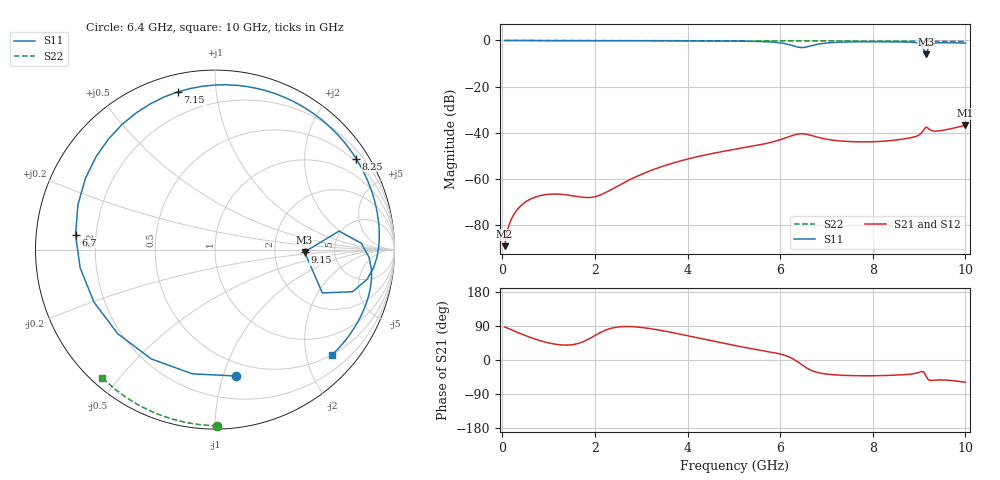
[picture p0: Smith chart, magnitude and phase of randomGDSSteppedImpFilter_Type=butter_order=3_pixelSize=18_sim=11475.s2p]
! freq	dB(S11)	phase(S11)	dB(S12)	phase(S12)
!  dB(S21)	phase(S21)	dB(S22)	phase(S22)
!S-par simulation data
#  GHz  S  DB  R 50
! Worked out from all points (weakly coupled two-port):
!   200 points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, 50 MHz to 10 GHz, reference 50 ohm
!   highest |S21| = -36.72 dB at 10 GHz (marker M1); lowest = -88.9 dB at 50 MHz (marker M2)
!   lowest |S11| = -6.0 dB at 9.15 GHz (marker M3), VSWR 3.00, Z = 150 - j5.34 ohm
!   |S11| at or under -10 dB: nowhere
!   |S22| runs from -0.4 to 0.0 dB; largest |S21 - S12| = 0
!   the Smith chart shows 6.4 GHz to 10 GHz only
!   S11 on the Smith chart (normalised r, x): 6.4 GHz: 0.38, -1.10; 6.7 GHz: 0.12, +0.05; 7.15 GHz: 0.08, +0.79; 8.25 GHz: 0.41, +3.35; 9.15 GHz: 2.99, -0.11; 10 GHz: 0.50, -2.52
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0.05  -0.00 -4.7  -88.94 87.3  -88.94 87.3  -0.00 -0.8
0.45  -0.06 -40.6  -70.60 66.8  -70.60 66.8  -0.01 -6.8
0.85  -0.08 -73.0  -66.95 49.9  -66.95 49.9  -0.02 -12.8
1.75  -0.11 -129.0  -67.83 48.5  -67.83 48.5  -0.03 -26.2
2.5  -0.13 -163.3  -62.86 87.1  -62.86 87.1  -0.05 -37.1
3.4  -0.15 162.3  -54.82 78.6  -54.82 78.6  -0.07 -49.8
5.05  -0.28 97.1  -46.95 37.5  -46.95 37.5  -0.11 -72.1
5.65  -0.52 60.6  -44.74 24.1  -44.74 24.1  -0.13 -79.9
6.05  -1.19 14.6  -42.60 14.2  -42.60 14.2  -0.15 -84.9
6.25  -2.12 -29.7  -41.19 4.7  -41.19 4.7  -0.16 -87.4
6.4  -2.93 -80.7  -40.44 -6.7  -40.44 -6.7  -0.16 -89.3
6.55  -2.89 -139.2  -40.49 -19.3  -40.49 -19.3  -0.17 -91.1
6.7  -2.14 173.9  -41.21 -28.8  -41.21 -28.8  -0.18 -93.0
6.9  -1.35 133.7  -42.27 -35.4  -42.27 -35.4  -0.19 -95.4
7.15  -0.89 103.2  -43.14 -38.9  -43.14 -38.9  -0.20 -98.4
8.25  -0.58 32.8  -43.53 -41.0  -43.53 -41.0  -0.28 -111.4
8.35  -0.59 27.7  -43.36 -40.6  -43.36 -40.6  -0.29 -112.5
8.95  -1.01 -6.4  -41.34 -34.4  -41.34 -34.4  -0.34 -119.4
9.1  -3.81 -22.0  -38.60 -31.4  -38.60 -31.4  -0.35 -121.1
9.15  -6.03 -1.5  -37.41 -42.1  -37.41 -42.1  -0.36 -121.7
9.35  -1.12 -7.2  -39.22 -53.0  -39.22 -53.0  -0.38 -124.0
10  -1.14 -42.0  -36.72 -59.0  -36.72 -59.0  -0.44 -131.3
